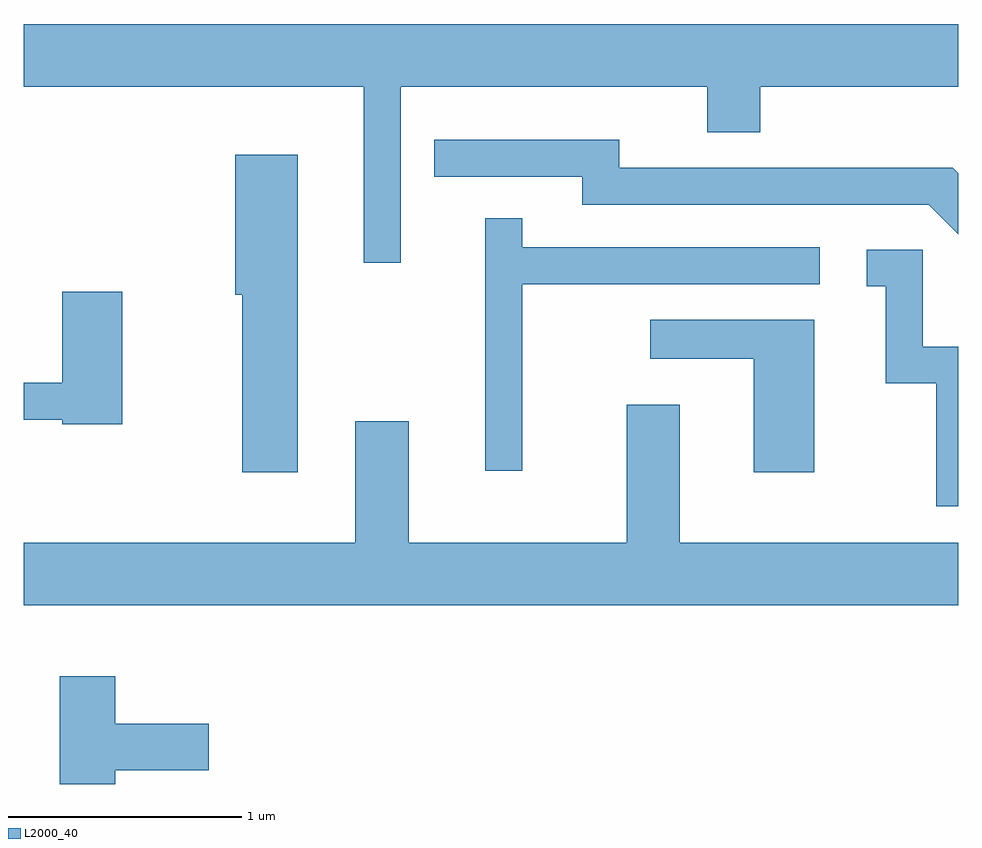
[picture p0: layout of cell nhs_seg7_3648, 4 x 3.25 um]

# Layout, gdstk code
import gdstk
lib = gdstk.Library(unit=1e-6, precision=1e-09)
def P(c, l, *ps):  # polygons
    for p in ps: c.add(gdstk.Polygon(p, *l))
L2000_40 = (2000, 40)

nhs_seg7_3648 = lib.new_cell('nhs_seg7_3648')
P(nhs_seg7_3648, L2000_40, [(299.224,1683.236),(300.536,1683.236),(300.536,1683.041),(300.764,1683.041),(300.764,1683.236),(301.611,1683.236),(301.611,1683.504),(297.611,1683.504),(297.611,1683.236),(299.066,1683.236),(299.066,1682.483),(299.224,1682.483)],
  [(301.611,1682.865),(301.587,1682.889),(300.159,1682.889),(300.159,1683.009),(299.368,1683.009),(299.368,1682.851),(300.001,1682.851),(300.001,1682.731),(301.484,1682.731),(301.611,1682.604)],
  [(298.784,1682.944),(298.516,1682.944),(298.516,1682.346),(298.546,1682.346),(298.546,1681.586),(298.784,1681.586)],
  [(299.744,1682.391),(301.018,1682.391),(301.018,1682.549),(299.744,1682.549),(299.744,1682.673),(299.586,1682.673),(299.586,1681.593),(299.744,1681.593)],
  [(301.611,1682.124),(301.459,1682.124),(301.459,1682.539),(301.218,1682.539),(301.218,1682.381),(301.301,1682.381),(301.301,1681.966),(301.516,1681.966),(301.516,1681.441),(301.611,1681.441)],
  [(298.034,1682.359),(297.776,1682.359),(297.776,1681.969),(297.611,1681.969),(297.611,1681.811),(297.776,1681.811),(297.776,1681.791),(298.034,1681.791)],
  [(300.994,1682.239),(300.293,1682.239),(300.293,1682.071),(300.736,1682.071),(300.736,1681.586),(300.994,1681.586)],
  [(301.611,1681.284),(300.419,1681.284),(300.419,1681.874),(300.191,1681.874),(300.191,1681.284),(299.259,1681.284),(299.259,1681.804),(299.031,1681.804),(299.031,1681.284),(297.611,1681.284),(297.611,1681.016),(301.611,1681.016)],
  [(298.004,1680.311),(298.404,1680.311),(298.404,1680.509),(298.004,1680.509),(298.004,1680.714),(297.766,1680.714),(297.766,1680.252),(298.004,1680.252)])

lib.write_gds('nhs_seg7_3648.gds')
